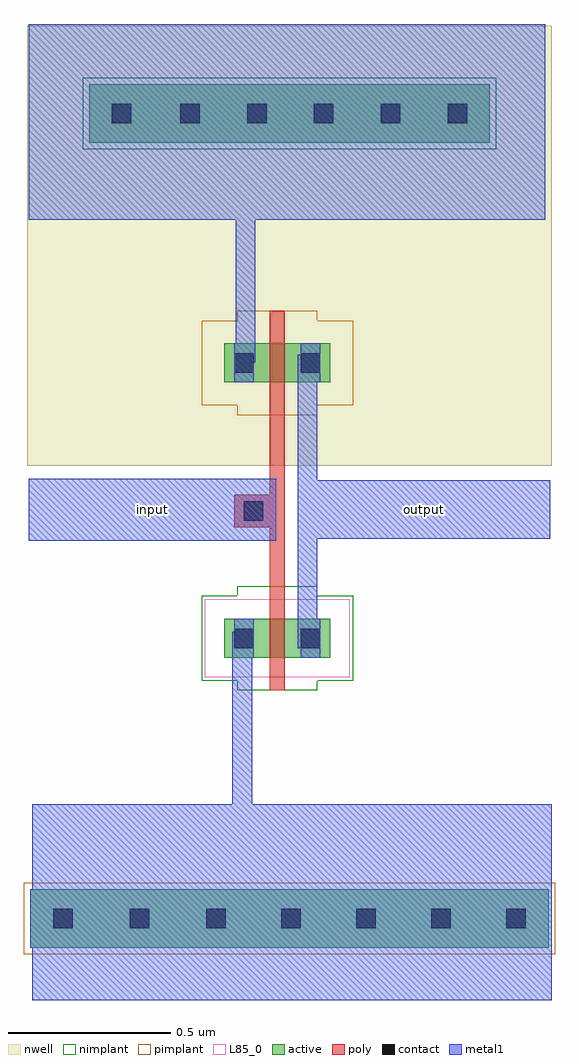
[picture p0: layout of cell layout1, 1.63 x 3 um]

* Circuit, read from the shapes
.subckt layout1 input output
M1 output input nmos1v$$2_0/S_source_0 nmos1v$$2_0/S_source_0 nfet w=0.12u l=0.045u
M2 output input pmos1v$$3_1/B pmos1v$$3_1/B pfet w=0.12u l=0.045u
.ends

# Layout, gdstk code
from math import pi, radians
import gdstk
lib = gdstk.Library(unit=1e-6, precision=5e-10)
def R(c, l, rs):  # rectangles x0, y0, x1, y1
    for r in rs: c.add(gdstk.rectangle(r[:2], r[2:], *l))
def A(c, l, x, y, w, h, nx, ny, dx, dy):  # array of equal rectangles
    R(c, l, [(x+i*dx, y+j*dy, x+i*dx+w, y+j*dy+h) for i in range(nx) for j in range(ny)])
active = (1, 0)
nwell = (2, 0)
poly = (3, 0)
nimplant = (4, 0)
pimplant = (5, 0)
contact = (6, 0)
metal1 = (7, 0)
L85_0 = (85, 0)

nmos1v__2 = lib.new_cell('nmos1v$$2')
R(nmos1v__2, active, [(-0.14,0,0,0.12), (0,0,0.045,0.12), (0.045,0,0.185,0.12)])
R(nmos1v__2, poly, [(0,-0.1,0.045,-0.05), (0,-0.05,0.045,0), (0,0,0.045,0.12), (0,0.12,0.045,0.17), (0,0.17,0.045,0.22)])
R(nmos1v__2, nimplant, [(-0.1,-0.1,0.145,0.22), (-0.21,-0.07,0.255,0.19)])
R(nmos1v__2, contact, [(-0.11,0.03,-0.05,0.09), (0.095,0.03,0.155,0.09)])
R(nmos1v__2, metal1, [(-0.11,0,-0.05,0.12), (0.095,0,0.155,0.12)])
R(nmos1v__2, L85_0, [(-0.2,-0.06,0.245,0.18)])
nmos1v__2.add(gdstk.Label('D_drain_1', (0.115,0.06), layer=1, texttype=0))
nmos1v__2.add(gdstk.Label('S_source_0', (-0.07,0.06), layer=1, texttype=0))
nmos1v__2.add(gdstk.Label('G_gate_1', (0.0225,-0.075), layer=3, texttype=0))
nmos1v__2.add(gdstk.Label('G_gate_1', (0.0225,0.195), layer=3, texttype=0))
nmos1v__2.add(gdstk.Label('D_drain_1', (0.125,0.06), layer=7, texttype=0))
nmos1v__2.add(gdstk.Label('S_source_0', (-0.08,0.06), layer=7, texttype=0))
nmos1v__2.add(gdstk.Label('B', (0.0225,0.06), layer=85, texttype=0))

pmos1v__3 = lib.new_cell('pmos1v$$3')
R(pmos1v__3, active, [(-0.14,0,0,0.12), (0,0,0.045,0.12), (0.045,0,0.185,0.12)])
R(pmos1v__3, nwell, [(-0.2,-0.06,0.245,0.18)])
R(pmos1v__3, poly, [(0,-0.1,0.045,-0.05), (0,-0.05,0.045,0), (0,0,0.045,0.12), (0,0.12,0.045,0.17), (0,0.17,0.045,0.22)])
R(pmos1v__3, pimplant, [(-0.1,-0.1,0.145,0.22), (-0.21,-0.07,0.255,0.19)])
R(pmos1v__3, contact, [(-0.11,0.03,-0.05,0.09), (0.095,0.03,0.155,0.09)])
R(pmos1v__3, metal1, [(-0.11,0,-0.05,0.12), (0.095,0,0.155,0.12)])
pmos1v__3.add(gdstk.Label('D_drain_1', (0.115,0.06), layer=1, texttype=0))
pmos1v__3.add(gdstk.Label('S_source_0', (-0.07,0.06), layer=1, texttype=0))
pmos1v__3.add(gdstk.Label('G_gate_1', (0.0225,-0.075), layer=3, texttype=0))
pmos1v__3.add(gdstk.Label('G_gate_1', (0.0225,0.195), layer=3, texttype=0))
pmos1v__3.add(gdstk.Label('D_drain_1', (0.125,0.06), layer=7, texttype=0))
pmos1v__3.add(gdstk.Label('S_source_0', (-0.08,0.06), layer=7, texttype=0))
pmos1v__3.add(gdstk.Label('B', (0.0225,0.06), layer=2, texttype=0))

m1_po__1 = lib.new_cell('M1_PO$$1')
R(m1_po__1, poly, [(-0.05,-0.06,0.05,0.06)])
R(m1_po__1, contact, [(-0.03,-0.03,0.03,0.03)])
R(m1_po__1, metal1, [(-0.03,-0.06,0.03,0.06)])

layout1 = lib.new_cell('layout1')
R(layout1, nwell, [(-9.975,4.055,-8.365,5.405)])
A(layout1, contact, -9.895, 2.635, 0.06, 0.06, 3, 1, 0.235, 0)
A(layout1, contact, -9.195, 2.635, 0.06, 0.06, 4, 1, 0.23, 0)
A(layout1, contact, -9.505, 5.105, 0.06, 0.06, 5, 1, 0.205, 0)
R(layout1, contact, [(-9.715,5.105,-9.655,5.165)])
R(layout1, metal1, [(-9.97,3.825,-9.21,4.015), (-9.14,3.83,-8.37,4.01)])
layout1.add(gdstk.FlexPath([(-9.965,2.665),(-8.375,2.665)], 0.18, ends="flush", simple_path=True, layer=7, datatype=0))  # metal1
layout1.add(gdstk.FlexPath([(-9.115,3.495),(-9.115,4.395)], 0.06, ends="flush", simple_path=True, layer=7, datatype=0))  # metal1
layout1.add(gdstk.FlexPath([(-9.785,5.135),(-8.555,5.135)], 0.18, ends="flush", simple_path=True, layer=7, datatype=0))  # metal1
layout1.add(gdstk.FlexPath([(-9.315,2.715),(-8.365,2.715)], 0.6, ends=(0.03, 0), simple_path=True, layer=7, datatype=0))  # metal1
layout1.add(gdstk.FlexPath([(-9.315,2.715),(-9.315,2.445)], 0.06, ends=(0.3, 0), simple_path=True, layer=7, datatype=0))  # metal1
layout1.add(gdstk.FlexPath([(-9.315,3.545),(-9.315,2.715)], 0.06, ends=(0, 0.3), simple_path=True, layer=7, datatype=0))  # metal1
layout1.add(gdstk.FlexPath([(-9.305,5.11),(-8.385,5.11)], 0.6, ends=(0.03, 0), simple_path=True, layer=7, datatype=0))  # metal1
layout1.add(gdstk.FlexPath([(-9.305,5.11),(-9.305,5.4)], 0.06, ends=(0.3, 0), simple_path=True, layer=7, datatype=0))  # metal1
layout1.add(gdstk.FlexPath([(-9.305,4.37),(-9.305,5.11)], 0.06, ends=(0, 0.3), simple_path=True, layer=7, datatype=0))  # metal1
layout1.add(gdstk.FlexPath([(-9.96,2.715),(-9.315,2.715)], 0.6, ends=(0, 0.03), simple_path=True, layer=7, datatype=0))  # metal1
layout1.add(gdstk.FlexPath([(-9.97,5.11),(-9.305,5.11)], 0.6, ends=(0, 0.03), simple_path=True, layer=7, datatype=0))  # metal1
layout1.add(gdstk.FlexPath([(-9.965,5.135),(-8.375,5.135)], 0.3, ends="flush", simple_path=True, layer=2, datatype=0))  # nwell
layout1.add(gdstk.FlexPath([(-9.985,2.665),(-8.355,2.665)], 0.22, ends="flush", simple_path=True, layer=5, datatype=0))  # pimplant
layout1.add(gdstk.FlexPath([(-9.2075,4.515),(-9.2075,3.375)], 0.045, ends="flush", simple_path=True, layer=3, datatype=0))  # poly
layout1.add(gdstk.FlexPath([(-9.805,5.135),(-8.535,5.135)], 0.22, ends="flush", simple_path=True, layer=4, datatype=0))  # nimplant
layout1.add(gdstk.FlexPath([(-9.785,5.135),(-8.555,5.135)], 0.18, ends="flush", simple_path=True, layer=1, datatype=0))  # active
layout1.add(gdstk.FlexPath([(-9.965,2.665),(-8.375,2.665)], 0.18, ends="flush", simple_path=True, layer=1, datatype=0))  # active
layout1.add(gdstk.Reference(nmos1v__2, (-9.23,3.465)))
layout1.add(gdstk.Reference(pmos1v__3, (-9.23,4.31)))
layout1.add(gdstk.Reference(m1_po__1, (-9.28,3.915), rotation=pi/2))
layout1.add(gdstk.Label('input', (-9.59,3.92), layer=7, texttype=0))
layout1.add(gdstk.Label('output', (-8.755,3.92), layer=7, texttype=0))
layout1.add(gdstk.Label('output', (-8.81,3.925), layer=63, texttype=0))
layout1.add(gdstk.Label('input', (-9.655,3.91), layer=63, texttype=0))

lib.write_gds('layout1.gds')
